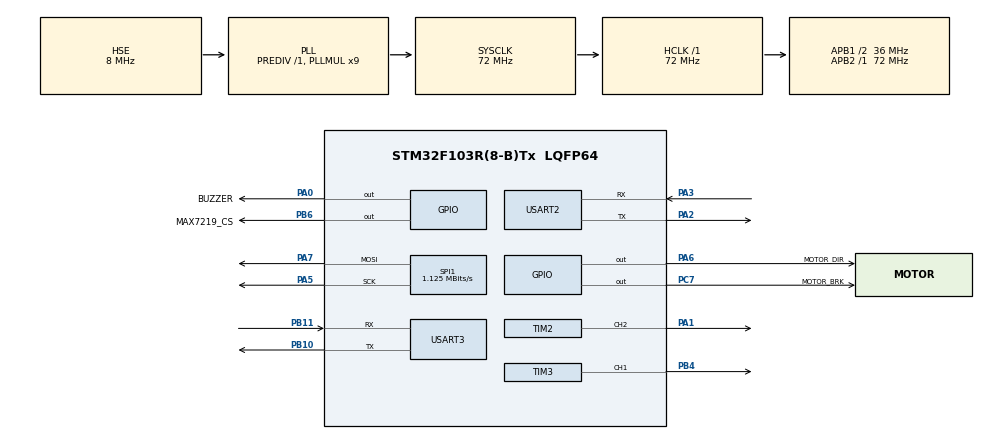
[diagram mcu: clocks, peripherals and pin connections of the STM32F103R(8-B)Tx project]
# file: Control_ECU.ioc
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Mcu.Family=STM32F1
Mcu.Name=STM32F103R(8-B)Tx
Mcu.Package=LQFP64
NVIC.PriorityGroup=NVIC_PRIORITYGROUP_4
NVIC.USART2_IRQn=true\:0\:0\:false\:false\:true\:true\:true\:true
NVIC.USART3_IRQn=true\:0\:0\:false\:false\:true\:true\:true\:true
PA0-WKUP.GPIO_Label=BUZZER
PA0-WKUP.Signal=GPIO_Output
PA1.Signal=S_TIM2_CH2
PA13.GPIO_Label=TMS
PA13.Mode=Serial_Wire
PA13.Signal=SYS_JTMS-SWDIO
PA14.GPIO_Label=TCK
PA14.Mode=Serial_Wire
PA14.Signal=SYS_JTCK-SWCLK
PA2.Mode=Asynchronous
PA2.Signal=USART2_TX
PA3.Mode=Asynchronous
PA3.Signal=USART2_RX
PA5.Mode=TX_Only_Simplex_Unidirect_Master
PA5.Signal=SPI1_SCK
PA6.GPIO_Label=MOTOR_DIR
PA6.Signal=GPIO_Output
PA7.Mode=TX_Only_Simplex_Unidirect_Master
PA7.Signal=SPI1_MOSI
PB10.Mode=Asynchronous
PB10.Signal=USART3_TX
PB11.Mode=Asynchronous
PB11.Signal=USART3_RX
PB4.Signal=S_TIM3_CH1
PB6.GPIO_Label=MAX7219_CS
PB6.GPIO_Speed=GPIO_SPEED_FREQ_HIGH
PB6.PinState=GPIO_PIN_SET
PB6.Signal=GPIO_Output
PC14-OSC32_IN.Mode=LSE-External-Oscillator
PC14-OSC32_IN.Signal=RCC_OSC32_IN
PC15-OSC32_OUT.Mode=LSE-External-Oscillator
PC15-OSC32_OUT.Signal=RCC_OSC32_OUT
PC7.GPIO_Label=MOTOR_BRK
PC7.Signal=GPIO_Output
PD0-OSC_IN.Mode=HSE-External-Oscillator
PD0-OSC_IN.Signal=RCC_OSC_IN
PD1-OSC_OUT.Mode=HSE-External-Oscillator
PD1-OSC_OUT.Signal=RCC_OSC_OUT
ProjectManager.HeapSize=0x200
ProjectManager.StackSize=0x400
ProjectManager.TargetToolchain=STM32CubeIDE
RCC.AHBFreq_Value=72000000
RCC.APB1CLKDivider=RCC_HCLK_DIV2
RCC.APB1Freq_Value=36000000
RCC.APB1TimFreq_Value=72000000
RCC.APB2Freq_Value=72000000
RCC.APB2TimFreq_Value=72000000
RCC.HCLKFreq_Value=72000000
RCC.PLLMUL=RCC_PLL_MUL9
RCC.PLLSourceVirtual=RCC_PLLSOURCE_HSE
RCC.RTCClockSelection=RCC_RTCCLKSOURCE_LSE
RCC.SYSCLKFreq_VALUE=72000000
RCC.SYSCLKSource=RCC_SYSCLKSOURCE_PLLCLK
RCC.USBFreq_Value=72000000
SH.S_TIM2_CH2.0=TIM2_CH2,PWM Generation2 CH2
SH.S_TIM3_CH1.0=TIM3_CH1,PWM Generation1 CH1
SPI1.BaudRatePrescaler=SPI_BAUDRATEPRESCALER_64
SPI1.CalculateBaudRate=1.125 MBits/s
SPI1.Direction=SPI_DIRECTION_2LINES
SPI1.Mode=SPI_MODE_MASTER
SPI1.VirtualType=VM_MASTER
TIM2.Channel-PWM\ Generation2\ CH2=TIM_CHANNEL_2
TIM2.Period=19999
TIM2.Prescaler=71
TIM2.Pulse-PWM\ Generation2\ CH2=1500
TIM3.Channel-PWM\ Generation1\ CH1=TIM_CHANNEL_1
TIM3.Period=999
TIM3.Prescaler=71
USART2.VirtualMode=VM_ASYNC
USART3.VirtualMode=VM_ASYNC
VP_TIM2_VS_ClockSourceINT.Mode=Internal
VP_TIM3_VS_ClockSourceINT.Mode=Internal
board=NUCLEO-F103RB

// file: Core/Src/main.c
/* USER CODE BEGIN Header */
/**
  ******************************************************************************
  * @file           : main.c
  * @brief          : Main program body
  ******************************************************************************
  * @attention
  *
  * Copyright (c) 2026 STMicroelectronics.
  * All rights reserved.
  *
  * This software is licensed under terms that can be found in the LICENSE file
  * in the root directory of this software component.
  * If no LICENSE file comes with this software, it is provided AS-IS.
  *
  ******************************************************************************
  */
/* USER CODE END Header */
#include "main.h"

/* USER CODE BEGIN Includes */
#include "stm32f1xx_nucleo.h"
#include "ServoMotor.h"
#include "DC_Motor.h"
#include "Max7219.h"
#include "Buzzer.h"
//#include "PC_Comm.h"
#include <stdio.h>
#include <string.h>
/* USER CODE END Includes */

/* USER CODE BEGIN PTD */
#define BUFSIZE 128
/* USER CODE END PTD */

SPI_HandleTypeDef hspi1;

TIM_HandleTypeDef htim2;
TIM_HandleTypeDef htim3;

UART_HandleTypeDef huart2;	// PC 통신용
UART_HandleTypeDef huart3;	// STM 간 통신용
uint8_t uart2_rcvbyte;      // UART2 임시 수신 바이트

/* USER CODE BEGIN PV */

/*------------------------- 전역 변수 및 상태 정의 추가 -----------------------------*/
// 시스템 상태 정의
typedef enum {
	STATUS_NORMAL  = 0,
	STATUS_WARNING = 1,
	STATUS_DANGER  = 2,
	STATUS_FAULT   = 3
} SystemStatus_t;

// UART 패킷 수신용
uint8_t rxPacket[10];				// UART 패킷 수신용 (ID 2바이트 + 데이터 8바이트 = 총 10바이트)
uint8_t rxIndex = 0;				// 수신 바이트 위치 카운트
uint8_t uart_rcvbyte;				// 1바이트 임시 수신용
volatile uint8_t bPacketReady = 0;	// 패킷 완성 플래그
char debugMsg[100];					// UART 송신용 버퍼

/*------------------------- 전역 변수 및 상태 정의 추가 -----------------------------*/

// 현재 시스템 상태 플래그
SystemStatus_t currentSystemStatus = STATUS_NORMAL;
SystemStatus_t lastStatus = STATUS_NORMAL; // 증복 방지용
SystemStatus_t lastStatusForDebug = STATUS_FAULT;

// for Servo Motor
extern TIM_HandleTypeDef htim2; // TIM2 핸들러 사용

// for DC Motor
extern TIM_HandleTypeDef htim3; // DC 모터용 TIM3

//for UART
uint8_t uart_rcvbuf;
volatile uint8_t bUART_RX = 0;

/* USER CODE END PV */

void SystemClock_Config(void);
static void MX_GPIO_Init(void);
static void MX_TIM2_Init(void);
static void MX_SPI1_Init(void);
static void MX_TIM3_Init(void);
static void MX_USART3_UART_Init(void);
static void MX_USART2_UART_Init(void);

/* USER CODE BEGIN 0 */

/*-------------------------- 수신 콜백 함수 수정 (패킷 조립) --------------------------*/

void HAL_UART_RxCpltCallback(UART_HandleTypeDef *huart)
{
	if(huart->Instance == USART3) // USART2에서 USART3로 수정 완료
	{
		// 1. ID 첫 번째 바이트 확인 (0x04)
		if(rxIndex == 0) {
			if(uart_rcvbyte == 0x04) rxPacket[rxIndex++] = uart_rcvbyte;
			else rxIndex = 0; // 일치하지 않으면 초기화
		}

		// 2. ID 두 번째 바이트 확인 (0x01)
		else if(rxIndex == 1) {
			if(uart_rcvbyte == 0x01) rxPacket[rxIndex++] = uart_rcvbyte;
			else rxIndex = 0; // 일치하지 않으면 초기화
		}

		// 3. 나머지 8바이트 데이터 채우기
		else if(rxIndex >= 2) {
			rxPacket[rxIndex++] = uart_rcvbyte;

			// 총 10바이트가 완성되었는가?
			if(rxIndex >= 10) {
				bPacketReady = 1;
				rxIndex = 0;
			}
		}

		// 다시 1바이트 수신 대기
		HAL_UART_Receive_IT(&huart3, &uart_rcvbyte, 1);
	}

	/*
	else if(huart->Instance == USART2)
	{
		// PC_Comm 모듈로 데이터 전달
		PC_Comm_HandleByte(uart2_rcvbyte);
		HAL_UART_Receive_IT(&huart2, &uart2_rcvbyte, 1);
	}
	*/
}

/*----------------------------- 수신 콜백 함수 수정 -------------------------------*/

/* USER CODE END 0 */

int main(void)
{

  /* MCU Configuration--------------------------------------------------------*/

  /* Reset of all peripherals, Initializes the Flash interface and the Systick. */
  HAL_Init();

  /* Configure the system clock */
  SystemClock_Config();

  /* Initialize all configured peripherals */
  MX_GPIO_Init();
  MX_TIM2_Init();
  MX_SPI1_Init();
  MX_TIM3_Init();
  MX_USART3_UART_Init();
  MX_USART2_UART_Init();
  /* USER CODE BEGIN 2 */

  Max7219_Init();			// for MAX7219     초기화
  Servo_Init(&htim2); 		// for Servo Motor 초기화
  DC_Motor_Init(&htim3);	// for DC Motor    초기화
  //PC_Comm_Init(&huart2);

  HAL_UART_Receive_IT(&huart3, &uart_rcvbyte, 1);	// 최초 수신 시작
  //HAL_UART_Receive_IT(&huart2, &uart2_rcvbyte, 1); // UART2 수신 시작

  /* USER CODE END 2 */

  /* Infinite loop */
  /* USER CODE BEGIN WHILE */

  while (1)
  {

	  /* [1] PC 통신 처리 (UART2) */
	  // PC에서 보낸 설정값(예: SET_OPEN:1500)이 있는지 확인하고 변수(g_rotation_time_open 등)를 업데이트합니다.
	  //PC_Comm_Process();

	  // [2] 시스템 상태 패킷 해석 (UART3)
	  if(bPacketReady)
	  {
		  bPacketReady = 0;

		  // ID(2바이트) 이후의 데이터 위치에서 값 추출
		  uint8_t alertLevel = rxPacket[2]; // Index 0 -> 2
		  uint8_t mrmTrigger = rxPacket[3];	// Index 1 -> 3

		  // 위험 상태 판단 로직
		  if(alertLevel == 2 || mrmTrigger == 1)
		  {
			  currentSystemStatus = STATUS_DANGER;
		  }
		  else if(alertLevel == 1)
		  {
			  currentSystemStatus = STATUS_WARNING;
		  }
		  else if(alertLevel == 3)
		  {
			  currentSystemStatus = STATUS_FAULT;
		  }
		  else
		  {
			  currentSystemStatus = STATUS_NORMAL;
		  }

	  }

	  // --- 여기서부터 상태 플래그에 따라 모듈 제어 예정 ---

	  /* [3] 상태 변화 시 1회성 트리거 동작 */
	  if (currentSystemStatus != lastStatus)
	  {
		  // 상태가 바뀌는 순간에만 필요한 초기화 작업 수행
		  // 주의: 여기서 긴 HAL_Delay를 사용하면 DC 모터의 감속이 멈춥니다.
		  if (currentSystemStatus == STATUS_NORMAL) {
			  Max7219_All_Off();
		  }
		  lastStatus = currentSystemStatus;
	  }

	  /* [4] 모듈별 실시간 업데이트 (비차단 방식) */
	  // 모든 모듈은 내부적으로 HAL_GetTick()을 사용하여 병렬적으로 동작합니다.
	  Buzzer_Update((uint8_t)currentSystemStatus);

	  // Servo_Update는 내부에서 전역 변수(g_rotation_time_open 등)를 사용하여 동작합니다.
	  Servo_Update((uint8_t)currentSystemStatus);

	  // DC 모터의 3초 선형 감속 로직 실행
	  DC_Motor_Update((uint8_t)currentSystemStatus);

	  // 도트 매트릭스 비차단 스크롤 출력
	  Max7219_Update((uint8_t)currentSystemStatus);

	  /* [5] 시스템 안정성을 위한 미세 딜레이 */
	  HAL_Delay(10);

    /* USER CODE END WHILE */

  }
}

void SystemClock_Config(void)
{
  RCC_OscInitTypeDef RCC_OscInitStruct = {0};
  RCC_ClkInitTypeDef RCC_ClkInitStruct = {0};

  /** Initializes the RCC Oscillators according to the specified parameters
  * in the RCC_OscInitTypeDef structure.
  */
  RCC_OscInitStruct.OscillatorType = RCC_OSCILLATORTYPE_HSE;
  RCC_OscInitStruct.HSEState = RCC_HSE_ON;
  RCC_OscInitStruct.HSEPredivValue = RCC_HSE_PREDIV_DIV1;
  RCC_OscInitStruct.HSIState = RCC_HSI_ON;
  RCC_OscInitStruct.PLL.PLLState = RCC_PLL_ON;
  RCC_OscInitStruct.PLL.PLLSource = RCC_PLLSOURCE_HSE;
  RCC_OscInitStruct.PLL.PLLMUL = RCC_PLL_MUL9;
  if (HAL_RCC_OscConfig(&RCC_OscInitStruct) != HAL_OK)
  {
    Error_Handler();
  }

  /** Initializes the CPU, AHB and APB buses clocks
  */
  RCC_ClkInitStruct.ClockType = RCC_CLOCKTYPE_HCLK|RCC_CLOCKTYPE_SYSCLK
                              |RCC_CLOCKTYPE_PCLK1|RCC_CLOCKTYPE_PCLK2;
  RCC_ClkInitStruct.SYSCLKSource = RCC_SYSCLKSOURCE_PLLCLK;
  RCC_ClkInitStruct.AHBCLKDivider = RCC_SYSCLK_DIV1;
  RCC_ClkInitStruct.APB1CLKDivider = RCC_HCLK_DIV2;
  RCC_ClkInitStruct.APB2CLKDivider = RCC_HCLK_DIV1;

  if (HAL_RCC_ClockConfig(&RCC_ClkInitStruct, FLASH_LATENCY_2) != HAL_OK)
  {
    Error_Handler();
  }
}

static void MX_SPI1_Init(void)
{

  /* SPI1 parameter configuration*/
  hspi1.Instance = SPI1;
  hspi1.Init.Mode = SPI_MODE_MASTER;
  hspi1.Init.Direction = SPI_DIRECTION_2LINES;
  hspi1.Init.DataSize = SPI_DATASIZE_8BIT;
  hspi1.Init.CLKPolarity = SPI_POLARITY_LOW;
  hspi1.Init.CLKPhase = SPI_PHASE_1EDGE;
  hspi1.Init.NSS = SPI_NSS_SOFT;
  hspi1.Init.BaudRatePrescaler = SPI_BAUDRATEPRESCALER_64;
  hspi1.Init.FirstBit = SPI_FIRSTBIT_MSB;
  hspi1.Init.TIMode = SPI_TIMODE_DISABLE;
  hspi1.Init.CRCCalculation = SPI_CRCCALCULATION_DISABLE;
  hspi1.Init.CRCPolynomial = 10;
  if (HAL_SPI_Init(&hspi1) != HAL_OK)
  {
    Error_Handler();
  }

}

static void MX_TIM2_Init(void)
{

  TIM_ClockConfigTypeDef sClockSourceConfig = {0};
  TIM_MasterConfigTypeDef sMasterConfig = {0};
  TIM_OC_InitTypeDef sConfigOC = {0};

  htim2.Instance = TIM2;
  htim2.Init.Prescaler = 71;
  htim2.Init.CounterMode = TIM_COUNTERMODE_UP;
  htim2.Init.Period = 19999;
  htim2.Init.ClockDivision = TIM_CLOCKDIVISION_DIV1;
  htim2.Init.AutoReloadPreload = TIM_AUTORELOAD_PRELOAD_DISABLE;
  if (HAL_TIM_Base_Init(&htim2) != HAL_OK)
  {
    Error_Handler();
  }
  sClockSourceConfig.ClockSource = TIM_CLOCKSOURCE_INTERNAL;
  if (HAL_TIM_ConfigClockSource(&htim2, &sClockSourceConfig) != HAL_OK)
  {
    Error_Handler();
  }
  if (HAL_TIM_PWM_Init(&htim2) != HAL_OK)
  {
    Error_Handler();
  }
  sMasterConfig.MasterOutputTrigger = TIM_TRGO_RESET;
  sMasterConfig.MasterSlaveMode = TIM_MASTERSLAVEMODE_DISABLE;
  if (HAL_TIMEx_MasterConfigSynchronization(&htim2, &sMasterConfig) != HAL_OK)
  {
    Error_Handler();
  }
  sConfigOC.OCMode = TIM_OCMODE_PWM1;
  sConfigOC.Pulse = 1500;
  sConfigOC.OCPolarity = TIM_OCPOLARITY_HIGH;
  sConfigOC.OCFastMode = TIM_OCFAST_DISABLE;
  if (HAL_TIM_PWM_ConfigChannel(&htim2, &sConfigOC, TIM_CHANNEL_2) != HAL_OK)
  {
    Error_Handler();
  }
  HAL_TIM_MspPostInit(&htim2);

}

static void MX_TIM3_Init(void)
{

  TIM_ClockConfigTypeDef sClockSourceConfig = {0};
  TIM_MasterConfigTypeDef sMasterConfig = {0};
  TIM_OC_InitTypeDef sConfigOC = {0};

  htim3.Instance = TIM3;
  htim3.Init.Prescaler = 71;
  htim3.Init.CounterMode = TIM_COUNTERMODE_UP;
  htim3.Init.Period = 999;
  htim3.Init.ClockDivision = TIM_CLOCKDIVISION_DIV1;
  htim3.Init.AutoReloadPreload = TIM_AUTORELOAD_PRELOAD_DISABLE;
  if (HAL_TIM_Base_Init(&htim3) != HAL_OK)
  {
    Error_Handler();
  }
  sClockSourceConfig.ClockSource = TIM_CLOCKSOURCE_INTERNAL;
  if (HAL_TIM_ConfigClockSource(&htim3, &sClockSourceConfig) != HAL_OK)
  {
    Error_Handler();
  }
  if (HAL_TIM_PWM_Init(&htim3) != HAL_OK)
  {
    Error_Handler();
  }
  sMasterConfig.MasterOutputTrigger = TIM_TRGO_RESET;
  sMasterConfig.MasterSlaveMode = TIM_MASTERSLAVEMODE_DISABLE;
  if (HAL_TIMEx_MasterConfigSynchronization(&htim3, &sMasterConfig) != HAL_OK)
  {
    Error_Handler();
  }
  sConfigOC.OCMode = TIM_OCMODE_PWM1;
  sConfigOC.Pulse = 0;
  sConfigOC.OCPolarity = TIM_OCPOLARITY_HIGH;
  sConfigOC.OCFastMode = TIM_OCFAST_DISABLE;
  if (HAL_TIM_PWM_ConfigChannel(&htim3, &sConfigOC, TIM_CHANNEL_1) != HAL_OK)
  {
    Error_Handler();
  }
  HAL_TIM_MspPostInit(&htim3);

}

static void MX_USART2_UART_Init(void)
{

  huart2.Instance = USART2;
  huart2.Init.BaudRate = 115200;
  huart2.Init.WordLength = UART_WORDLENGTH_8B;
  huart2.Init.StopBits = UART_STOPBITS_1;
  huart2.Init.Parity = UART_PARITY_NONE;
  huart2.Init.Mode = UART_MODE_TX_RX;
  huart2.Init.HwFlowCtl = UART_HWCONTROL_NONE;
  huart2.Init.OverSampling = UART_OVERSAMPLING_16;
  if (HAL_UART_Init(&huart2) != HAL_OK)
  {
    Error_Handler();
  }

}

static void MX_USART3_UART_Init(void)
{

  huart3.Instance = USART3;
  huart3.Init.BaudRate = 115200;
  huart3.Init.WordLength = UART_WORDLENGTH_8B;
  huart3.Init.StopBits = UART_STOPBITS_1;
  huart3.Init.Parity = UART_PARITY_NONE;
  huart3.Init.Mode = UART_MODE_TX_RX;
  huart3.Init.HwFlowCtl = UART_HWCONTROL_NONE;
  huart3.Init.OverSampling = UART_OVERSAMPLING_16;
  if (HAL_UART_Init(&huart3) != HAL_OK)
  {
    Error_Handler();
  }

}

static void MX_GPIO_Init(void)
{
  GPIO_InitTypeDef GPIO_InitStruct = {0};

  /* GPIO Ports Clock Enable */
  __HAL_RCC_GPIOC_CLK_ENABLE();
  __HAL_RCC_GPIOD_CLK_ENABLE();
  __HAL_RCC_GPIOA_CLK_ENABLE();
  __HAL_RCC_GPIOB_CLK_ENABLE();

  /*Configure GPIO pin Output Level */
  HAL_GPIO_WritePin(GPIOA, BUZZER_Pin|MOTOR_DIR_Pin, GPIO_PIN_RESET);

  /*Configure GPIO pin Output Level */
  HAL_GPIO_WritePin(MOTOR_BRK_GPIO_Port, MOTOR_BRK_Pin, GPIO_PIN_RESET);

  /*Configure GPIO pin Output Level */
  HAL_GPIO_WritePin(MAX7219_CS_GPIO_Port, MAX7219_CS_Pin, GPIO_PIN_SET);

  /*Configure GPIO pins : BUZZER_Pin MOTOR_DIR_Pin */
  GPIO_InitStruct.Pin = BUZZER_Pin|MOTOR_DIR_Pin;
  GPIO_InitStruct.Mode = GPIO_MODE_OUTPUT_PP;
  GPIO_InitStruct.Pull = GPIO_NOPULL;
  GPIO_InitStruct.Speed = GPIO_SPEED_FREQ_LOW;
  HAL_GPIO_Init(GPIOA, &GPIO_InitStruct);

  /*Configure GPIO pin : MOTOR_BRK_Pin */
  GPIO_InitStruct.Pin = MOTOR_BRK_Pin;
  GPIO_InitStruct.Mode = GPIO_MODE_OUTPUT_PP;
  GPIO_InitStruct.Pull = GPIO_NOPULL;
  GPIO_InitStruct.Speed = GPIO_SPEED_FREQ_LOW;
  HAL_GPIO_Init(MOTOR_BRK_GPIO_Port, &GPIO_InitStruct);

  /*Configure GPIO pin : MAX7219_CS_Pin */
  GPIO_InitStruct.Pin = MAX7219_CS_Pin;
  GPIO_InitStruct.Mode = GPIO_MODE_OUTPUT_PP;
  GPIO_InitStruct.Pull = GPIO_NOPULL;
  GPIO_InitStruct.Speed = GPIO_SPEED_FREQ_HIGH;
  HAL_GPIO_Init(MAX7219_CS_GPIO_Port, &GPIO_InitStruct);

}

void Error_Handler(void)
{
  __disable_irq();
  while (1)
  {
  }
}
